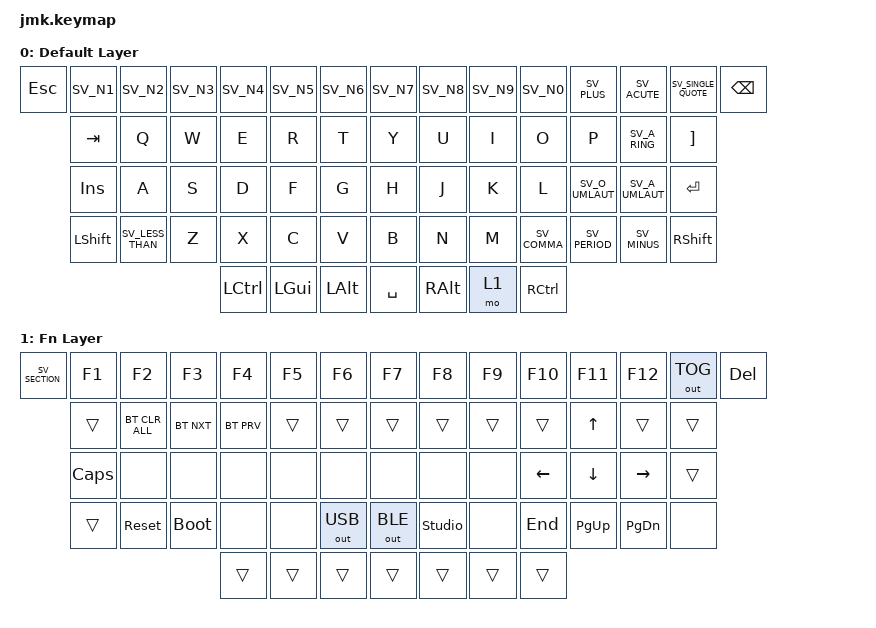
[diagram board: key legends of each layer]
/*
 * Copyright (c) 2020 The ZMK Contributors
 *
 * SPDX-License-Identifier: MIT
 */

#include <behaviors.dtsi>
#include <dt-bindings/zmk/keys.h>
#include <dt-bindings/zmk/bt.h>
#include <dt-bindings/zmk/outputs.h>
#include "keys_sv.h"

/ {
    keymap {
        compatible = "zmk,keymap";

            default_layer {
                    display-name = "Default Layer";
            // ------------------------------------------------------------------------------------------
            // | ESC |  1  |  2  |  3  |  4  |  5  |  6  |  7  |  8  |  9  |  0  |  +  |  ´  | ' | BSPC |
            // | TAB  |  Q  |  W  |  E  |  R  |  T  |  Y  |  U  |  I  |  O  |  P  |  Å  |  ^  |         |
            // | CAPS  |  A  |  S  |  D  |  F  |  G  |  H  |  J  |  K  |  L  |  Ö  |  Ä  |     ENTER    |
            // |SHIFT| < |  Z  |  X  |  C  |  V  |  B  |  N  |  M  |  ,  |  .  |  -  |      SHIFT       |
            // |  CTL  |  SUPER  |  ALT  |                SPACE                 |  ALT  |  FN   |  CTL  |
            // ------------------------------------------------------------------------------------------
                        bindings = <
                &kp ESC  &kp SV_N1 &kp SV_N2 &kp SV_N3 &kp SV_N4 &kp SV_N5 &kp SV_N6 &kp SV_N7 &kp SV_N8 &kp SV_N9 &kp SV_N0 &kp SV_PLUS &kp SV_ACUTE  &kp SV_SINGLE_QUOTE  &kp BSPC
                &kp TAB  &kp Q  &kp W  &kp E  &kp R  &kp T  &kp Y  &kp U  &kp I  &kp O  &kp P  &kp SV_A_RING  &kp RIGHT_BRACKET
                &kp INSERT  &kp A  &kp S  &kp D  &kp F  &kp G  &kp H  &kp J  &kp K  &kp L  &kp SV_O_UMLAUT  &kp SV_A_UMLAUT  &kp RETURN
                &kp LSHFT &kp SV_LESS_THAN  &kp Z  &kp X  &kp C  &kp V  &kp B  &kp N  &kp M  &kp SV_COMMA  &kp SV_PERIOD  &kp SV_MINUS  &kp RSHFT
                &kp LCTRL &kp LGUI &kp LALT             &kp SPACE                     &kp RALT   &mo 1   &kp RCTRL
            >;
        };

        lower {
            display-name = "Fn Layer";
            // ------------------------------------------------------------------------------------------
            // | ESC |  1  |  2  |  3  |  4  |  5  |  6  |  7  |  8  |  9  |  0  |  +  |  ´  | ' | BSPC |
            // | TAB  |  Q  |  W  |  E  |  R  |  T  |  Y  |  U  |  I  |  O  |  P  |  Å  |  ^  |         |
            // | CAPS  |  A  |  S  |  D  |  F  |  G  |  H  |  J  |  K  |  L  |  Ö  |  Ä  |     ENTER    |
            // |SHIFT| < |  Z  |  X  |  C  |  V  |  B  |  N  |  M  |  ,  |  .  |  -  |      SHIFT       |
            // |  CTL  |  SUPER  |  ALT  |                SPACE                 |  ALT  |  FN   |  CTL  |
            // ------------------------------------------------------------------------------------------
            bindings = <
                &kp SV_SECTION  &kp F1 &kp F2 &kp F3 &kp F4 &kp F5 &kp F6 &kp F7 &kp F8 &kp F9 &kp F10 &kp F11 &kp F12 &out OUT_TOG  &kp DELETE
                &trans &bt BT_CLR_ALL  &bt BT_NXT  &bt BT_PRV  &trans  &trans  &trans  &trans  &trans  &trans  &kp UP  &trans  &trans
                &kp CAPS  &none  &none  &none  &none  &none  &none  &none  &none  &kp LEFT  &kp DOWN  &kp RIGHT &trans
                &trans &sys_reset  &bootloader  &none  &none  &out OUT_USB  &out OUT_BLE  &studio_unlock &none  &kp END  &kp PAGE_UP  &kp PAGE_DOWN  &none
                &trans &trans &trans             &trans                     &trans   &trans   &trans
            >;
        };
	};
};

